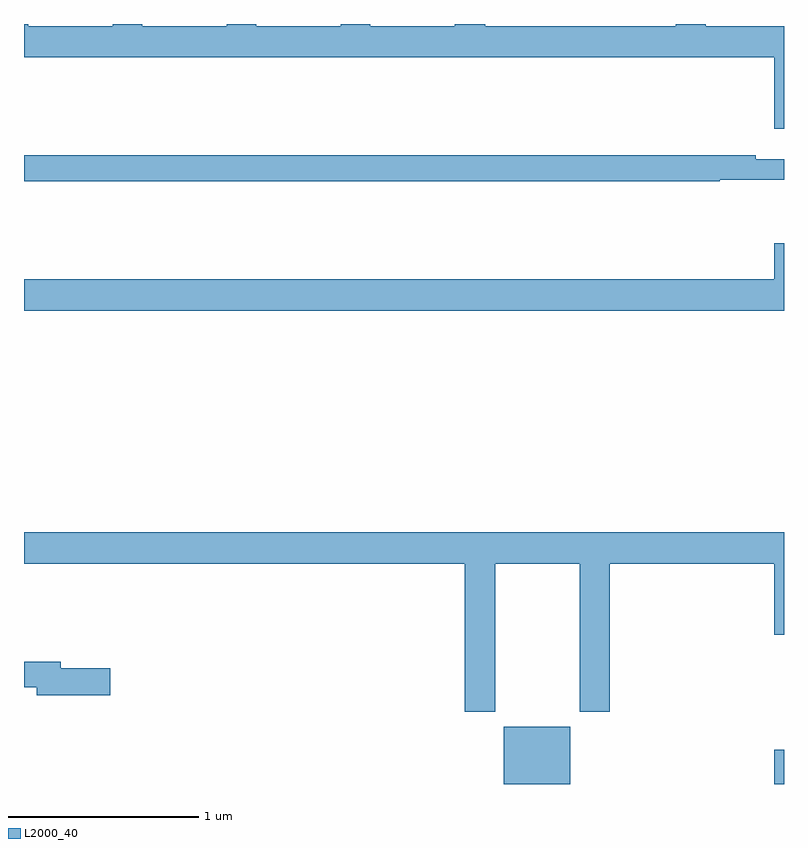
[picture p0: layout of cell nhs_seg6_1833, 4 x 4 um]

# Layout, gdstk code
import gdstk
lib = gdstk.Library(unit=1e-6, precision=1e-09)
def R(c, l, rs):  # rectangles x0, y0, x1, y1
    for r in rs: c.add(gdstk.rectangle(r[:2], r[2:], *l))
def P(c, l, *ps):  # polygons
    for p in ps: c.add(gdstk.Polygon(p, *l))
L2000_40 = (2000, 40)

nhs_seg6_1833 = lib.new_cell('nhs_seg6_1833')
R(nhs_seg6_1833, L2000_40, [(223.526,955.5,223.876,955.801), (224.948,955.5,225,955.681)])
P(nhs_seg6_1833, L2000_40, [(225,959.488),(224.589,959.488),(224.589,959.5),(224.429,959.5),(224.429,959.488),(223.427,959.488),(223.427,959.5),(223.267,959.5),(223.267,959.488),(222.822,959.488),(222.822,959.5),(222.667,959.5),(222.667,959.488),(222.222,959.488),(222.222,959.5),(222.067,959.5),(222.067,959.488),(221.622,959.488),(221.622,959.5),(221.467,959.5),(221.467,959.488),(221.022,959.488),(221.022,959.5),(221,959.5),(221,959.324),(224.948,959.324),(224.948,958.95),(225,958.95)],
  [(224.662,958.68),(225,958.68),(225,958.789),(224.852,958.789),(224.852,958.808),(221,958.808),(221,958.672),(224.662,958.672)],
  [(225,958.345),(224.948,958.345),(224.948,958.156),(221,958.156),(221,957.992),(225,957.992)],
  [(223.479,956.66),(223.924,956.66),(223.924,955.881),(224.084,955.881),(224.084,956.66),(224.948,956.66),(224.948,956.286),(225,956.286),(225,956.824),(221,956.824),(221,956.66),(223.319,956.66),(223.319,955.881),(223.479,955.881)],
  [(221.455,956.108),(221.194,956.108),(221.194,956.144),(221,956.144),(221,956.008),(221.066,956.008),(221.066,955.966),(221.455,955.966)])

lib.write_gds('nhs_seg6_1833.gds')
